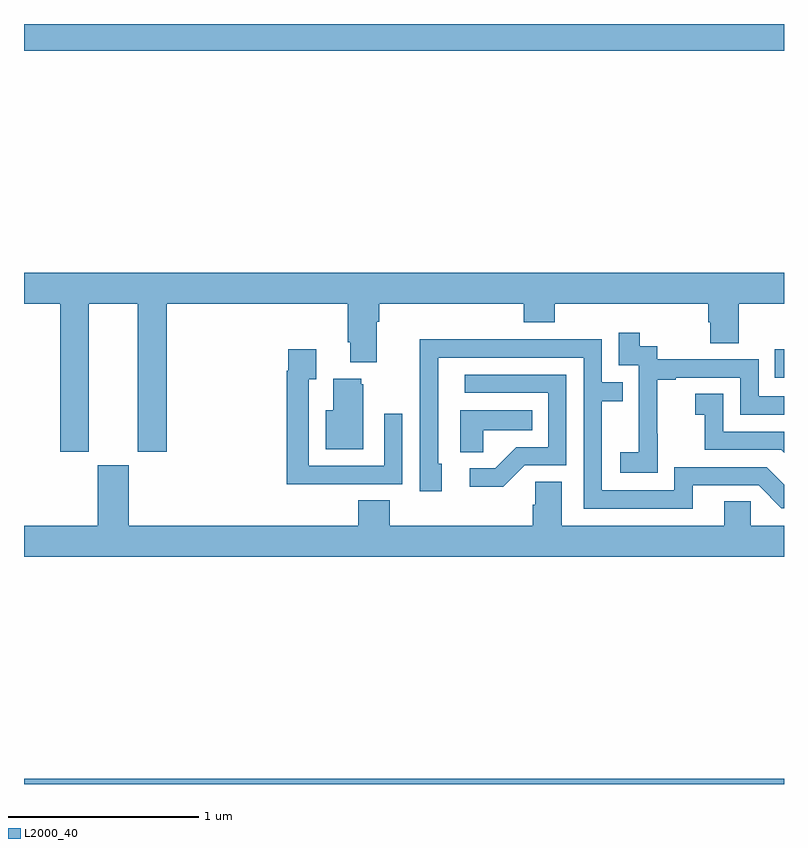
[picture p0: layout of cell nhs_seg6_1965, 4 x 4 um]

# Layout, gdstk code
import gdstk
lib = gdstk.Library(unit=1e-6, precision=1e-09)
def R(c, l, rs):  # rectangles x0, y0, x1, y1
    for r in rs: c.add(gdstk.rectangle(r[:2], r[2:], *l))
def P(c, l, *ps):  # polygons
    for p in ps: c.add(gdstk.Polygon(p, *l))
L2000_40 = (2000, 40)

nhs_seg6_1965 = lib.new_cell('nhs_seg6_1965')
R(nhs_seg6_1965, L2000_40, [(229,919.5,233,919.528), (232.951,921.639,233,921.787), (229,923.36,233,923.5)])
P(nhs_seg6_1965, L2000_40, [(229,922.028),(229.19,922.028),(229.19,921.249),(229.342,921.249),(229.342,922.028),(229.598,922.028),(229.598,921.249),(229.751,921.249),(229.751,922.028),(230.705,922.028),(230.705,921.826),(230.717,921.826),(230.717,921.719),(230.857,921.719),(230.857,921.932),(230.87,921.932),(230.87,922.028),(231.629,922.028),(231.629,921.929),(231.794,921.929),(231.794,922.028),(232.601,922.028),(232.601,921.93),(232.613,921.93),(232.613,921.82),(232.761,921.82),(232.761,922.028),(233,922.028),(233,922.192),(229,922.192)],
  [(232.335,921.343),(232.334,921.343),(232.334,921.627),(232.429,921.627),(232.429,921.639),(232.77,921.639),(232.77,921.444),(233,921.444),(233,921.54),(232.866,921.54),(232.866,921.735),(232.332,921.735),(232.332,921.804),(232.24,921.804),(232.24,921.874),(232.131,921.874),(232.131,921.705),(232.236,921.705),(232.236,921.476),(232.235,921.476),(232.235,921.247),(232.137,921.247),(232.137,921.137),(232.335,921.137)],
  [(232.519,921.072),(232.866,921.072),(232.986,920.952),(233,920.952),(233,921.076),(232.908,921.168),(232.422,921.168),(232.422,921.045),(232.041,921.045),(232.041,921.514),(232.151,921.514),(232.151,921.615),(232.041,921.615),(232.041,921.84),(231.545,921.84),(231.545,921.842),(231.082,921.842),(231.082,921.535),(231.084,921.535),(231.084,921.042),(231.199,921.042),(231.199,921.186),(231.18,921.186),(231.18,921.744),(231.945,921.744),(231.945,920.949),(232.519,920.949)],
  [(230.675,921.078),(230.991,921.078),(230.991,921.448),(230.895,921.448),(230.895,921.174),(230.499,921.174),(230.499,921.631),(230.539,921.631),(230.539,921.787),(230.391,921.787),(230.391,921.674),(230.383,921.674),(230.383,921.077),(230.675,921.077)],
  [(231.636,921.177),(231.855,921.177),(231.855,921.654),(231.321,921.654),(231.321,921.558),(231.759,921.558),(231.759,921.273),(231.59,921.273),(231.479,921.162),(231.345,921.162),(231.345,921.065),(231.523,921.065)],
  [(230.785,921.603),(230.774,921.603),(230.774,921.634),(230.627,921.634),(230.627,921.466),(230.588,921.466),(230.588,921.263),(230.785,921.263)],
  [(233,921.354),(232.68,921.354),(232.68,921.553),(232.533,921.553),(232.533,921.443),(232.582,921.443),(232.582,921.258),(232.985,921.258),(233,921.243)],
  [(231.417,921.362),(231.674,921.362),(231.674,921.466),(231.296,921.466),(231.296,921.247),(231.417,921.247)],
  [(230.759,920.993),(230.759,920.86),(229.552,920.86),(229.552,921.177),(229.388,921.177),(229.388,920.86),(229,920.86),(229,920.696),(233,920.696),(233,920.86),(232.824,920.86),(232.824,920.987),(232.685,920.987),(232.685,920.86),(231.829,920.86),(231.829,921.092),(231.69,921.092),(231.69,920.969),(231.677,920.969),(231.677,920.86),(230.924,920.86),(230.924,920.993)])

lib.write_gds('nhs_seg6_1965.gds')
